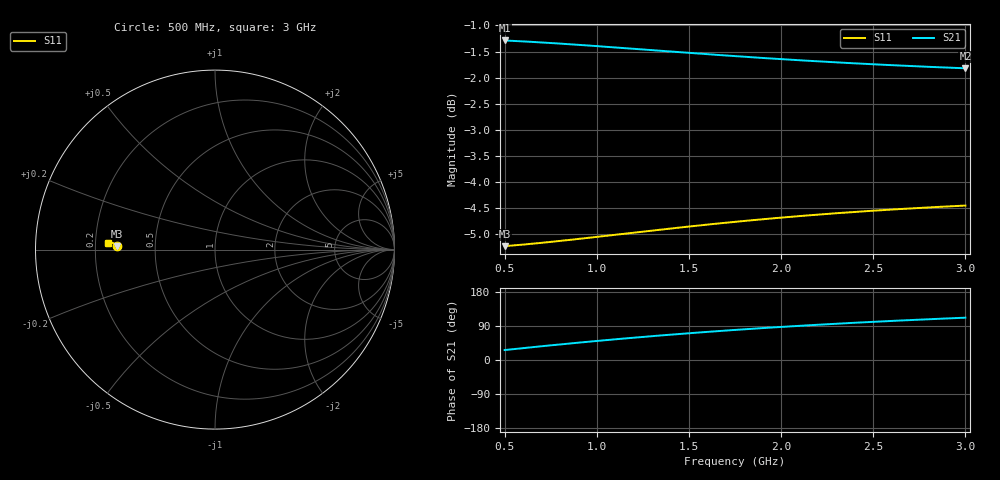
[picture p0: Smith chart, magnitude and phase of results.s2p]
! rfsim (KiCad + openEMS)
# HZ S RI R 50
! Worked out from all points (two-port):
!   251 points, 500 MHz to 3 GHz, reference 50 ohm
!   highest |S21| = -1.29 dB at 500 MHz (marker M1); lowest = -1.8 dB at 3 GHz (marker M2)
!   |S21| within 3 dB of the highest: start of sweep to end of sweep
!   lowest |S11| = -5.2 dB at 500 MHz (marker M3), VSWR 3.42, Z = 14.6 + j0.752 ohm
!   |S11| at or under -10 dB: nowhere
!   S12 and S22 are empty: the file has one direction only
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5e8  -0.5476 0.018  0.7731 0.3819  0 0  0 0
6.1e8  -0.5496 0.0214  0.731 0.4536  0 0  0 0
7.1e8  -0.5516 0.0242  0.6878 0.5134  0 0  0 0
8.2e8  -0.554 0.027  0.6361 0.5727  0 0  0 0
9.2e8  -0.5564 0.0293  0.5861 0.6205  0 0  0 0
1.02e9  -0.5588 0.0313  0.5341 0.6626  0 0  0 0
1.13e9  -0.5616 0.0332  0.4755 0.7025  0 0  0 0
1.23e9  -0.5641 0.0346  0.4218 0.7331  0 0  0 0
1.34e9  -0.5669 0.0359  0.3628 0.7609  0 0  0 0
1.44e9  -0.5694 0.0369  0.3098 0.7813  0 0  0 0
1.54e9  -0.5719 0.0376  0.2579 0.7973  0 0  0 0
1.64e9  -0.5742 0.0382  0.2073 0.8094  0 0  0 0
1.75e9  -0.5768 0.0387  0.1535 0.8187  0 0  0 0
1.85e9  -0.579 0.0389  0.1064 0.8239  0 0  0 0
1.95e9  -0.5811 0.039  0.0612 0.8263  0 0  0 0
2.06e9  -0.5834 0.039  0.0137 0.8261  0 0  0 0
2.17e9  -0.5855 0.0389  -0.0314 0.8234  0 0  0 0
2.27e9  -0.5873 0.0387  -0.0703 0.8191  0 0  0 0
2.38e9  -0.5892 0.0384  -0.1108 0.8126  0 0  0 0
2.59e9  -0.5926 0.0376  -0.182 0.7961  0 0  0 0
2.79e9  -0.5954 0.0367  -0.2426 0.7767  0 0  0 0
3e9  -0.5981 0.0356  -0.2992 0.7537  0 0  0 0
